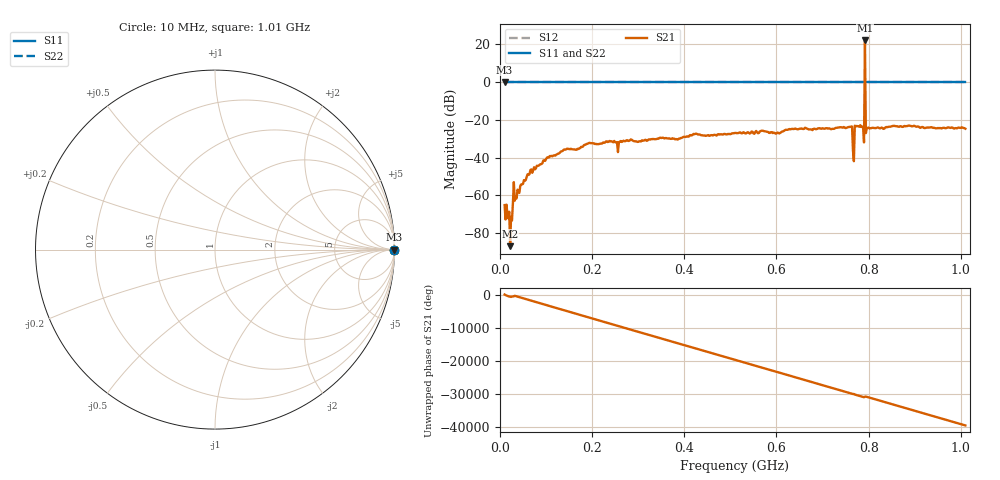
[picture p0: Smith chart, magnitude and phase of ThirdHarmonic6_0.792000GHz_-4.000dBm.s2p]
! 8/16/2025 2:24:53 AM
! C:\ANRITSUVNA\TEMP\TEMP.S2P
! CHANNEL.1
! TR.MEASUREMENT
! RAW.DATA
! RF.CORRECTION.OFF
! AVERAGING.OFF
! IF.BANDWIDTH: 5KHZ
! SWEEPTYPE:  FREQ.SWEEP(Linear)
! Reference Plane Port Info
! PORT:  PORT1  PORT2
! DISTANCE:  0  m  0  m
! TIME:  0  s  0  s
! PHASE.OFFSET:  0  deg.  0  deg.
! LOSS:  0  dB  0  dB
! REF.LOSS:  0  dB  0  dB
! REF.FREQ:  0  Hz  0  Hz
! Power Info
! POWER:  -20  dBm  -20  dBm
! EFF.POWER:  -20  dBm  -20  dBm
! SOURCE.ATTEN:  0  dB  0  dB
! TEST.ATTEN:  0  dB  0  dB
# GHZ S RI R 50.0
! FREQ.GHZ  S11RE  S11IM  S21RE  S21IM  S12RE  S12IM  S22RE  S22IM
!; PortSelection: Port_12
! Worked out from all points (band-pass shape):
!   501 points, 10 MHz to 1.01 GHz, reference 50 ohm
!   highest |S21| = 22.03 dB at 792 MHz (marker M1); lowest = -86.9 dB at 22 MHz (marker M2)
!   |S21| within 3 dB of the highest: 791.8888 MHz to 792.1224 MHz (233.5 kHz wide, 0.0295 % of centre)
!   lowest |S11| = 0.0 dB at 10 MHz (marker M3)
!   |S11| at or under -10 dB: nowhere
!   |S22| runs from 0.0 to 0.0 dB; largest |S21 - S12| = 14
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0.01  1 0  0.000535 0.000149  1 0  1 0
0.022  1 0  -2.52e-05 3.78e-05  1 0  1 0
0.034  1 0  0.0002 -0.000893  1 0  1 0
0.036  1 0  -0.000792 -0.000263  1 0  1 0
0.064  1 0  -0.00272 0.00245  1 0  1 0
0.106  1 0  -0.00713 -0.00712  1 0  1 0
0.178  1 0  -0.0186 -0.00475  1 0  1 0
0.196  1 0  -0.0243 -0.000206  1 0  1 0
0.344  1 0  0.0312 -0.00505  1 0  1 0
0.51  1 0  -0.0428 0.0133  1 0  1 0
0.678  1 0  -0.0217 -0.0489  1 0  1 0
0.76  1 0  -0.065 -0.00631  1 0  1 0
0.764  1 0  0.0612 0.0267  1 0  1 0
0.77  1 0  -0.0556 0.0431  1 0  1 0
0.774  1 0  0.0636 -0.0265  1 0  1 0
0.786  1 0  -0.0542 -0.0355  1 0  1 0
0.788  1 0  -0.0452 0.0493  1 0  1 0
0.792  1 0  -11.6 -5.003  1 0  1 0
0.796  1 0  -0.0588 0.0113  1 0  1 0
0.798  1 0  3.76e-05 0.0614  1 0  1 0
0.844  1 0  0.0462 0.0468  1 0  1 0
1.01  1 0  -0.0562 -0.0159  1 0  1 0
